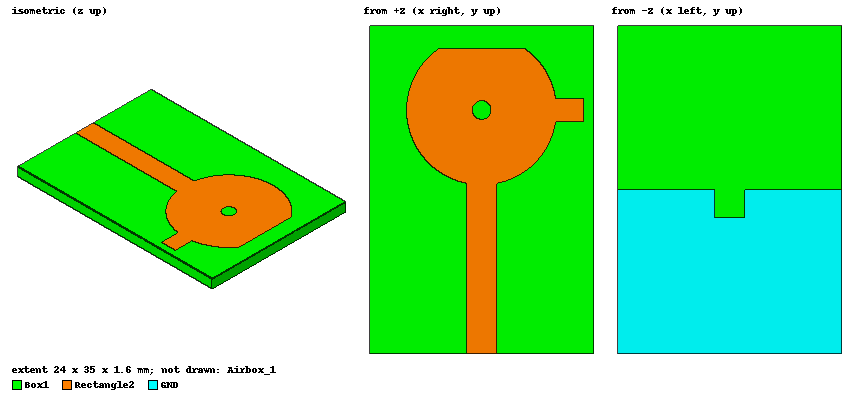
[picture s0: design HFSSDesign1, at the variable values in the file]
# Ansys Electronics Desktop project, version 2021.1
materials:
  vacuum: permittivity=1
  FR4_epoxy: permittivity=4.4 dielectric_loss_tangent=0.02

design HFSSDesign1 (HFSS, DrivenModal, model units mm)
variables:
  W = 24mm
  L = 35mm
  hs = 1.6mm
  Gd = 10.4mm
  wf = 3.2mm
  La = 17.5mm
  wgs = 3.2mm
  las = 3mm
  h = 0.5mm
  R2 = 8mm
  R1 = 1mm
  Lh = 6.5mm
  Wrec = 2.5mm
  Lrec = 3mm
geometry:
  Box1 [FR4_epoxy] = box(corner=(-W/2, 0mm, 0mm), size=(W, L, hs))
  Airbox_1 [vacuum] = box(corner=(-W/2-10mm, -10mm, -10mm), size=(W+20mm, L+20mm, 20mm))
  GND = rectangle(corner=(-Gd-wf/2, 0mm, 0mm), x_size=2*Gd+wf, y_size=La)
  Slot1 = rectangle(corner=(-wgs/2, La, 0mm), x_size=wgs, y_size=-las)
  GND.subtract(Slot1)
  Circle1 = circle(normal=Z, centre=(0mm, La+h+R2, hs), radius=R2)
  Circle2 = circle(normal=Z, centre=(0mm, La+h+R2, hs), radius=R1)
  Rectangle1 = rectangle(corner=(-5mm, La+h+R2+Lh, hs), x_size=10mm, y_size=2mm)
  Circle1.subtract(Circle2, Rectangle1)
  Rectangle2 = rectangle(corner=(-wf/2, 0mm, hs), x_size=wf, y_size=La+h+0.2mm)
  Rectangle3 = rectangle(corner=(R2-0.1mm, La+h+R2-Wrec/2, hs), x_size=Lrec, y_size=Wrec)
  Rectangle2.unite(Rectangle3, Circle1)
  Rectangle4 = rectangle(corner=(-wf/2, 0mm, 0mm), z_size=hs, x_size=wf)
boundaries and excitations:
  PerfE1: Perfect E Objects=[GND, Rectangle2]
  Rad1: Radiation Objects=Airbox_1
  1: Lumped Port Objects=Rectangle4 Modes{Mode1{IntLine{middle of Rectangle4.edge(z at corner) -> middle of Rectangle4.edge(z opposite corner)} CharImp=Zpi RenormImp=50ohm}} Impedance=50ohm
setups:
  Setup1: HfssDriven Frequency=7GHz MaxDeltaS=0.02 MaximumPasses=20 MinimumPasses=1 MinimumConvergedPasses=1 PercentRefinement=30 BasisOrder=1 PortAccuracy=2
    sweep Sweep: 3GHz to 12GHz, 100 points; Type=Discrete SaveFields
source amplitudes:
  1:1: 1W 0deg
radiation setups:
  Infinite Sphere1: Infinite Sphere Theta=-180deg..180deg step 2deg Phi=-180deg..180deg step 2deg
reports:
  S Parameter Plot 1: dB(S(1,1)) vs Freq on Setup1 : Sweep; markers m1 at 6.4545455GHz
  VSWR Plot 1: abs(VSWR(1)) vs Freq on Setup1 : Sweep; markers m1 at 6.4545455GHz
  Antenna Params Plot 1: dB(PeakGain) vs Freq on Setup1 : Sweep
  Antenna Params Plot 2: abs(RadiationEfficiency) vs Freq on Setup1 : Sweep
  Gain Plot 1: dB(GainPhi), dB(GainTheta) vs Theta on Setup1 : Sweep, Infinite Sphere1 [Phi=90deg Freq=7GHz]
  Gain Plot 2: dB(GainPhi), dB(GainTheta) vs Theta on Setup1 : Sweep, Infinite Sphere1 [Phi=0deg Freq=7GHz]
  Gain Plot 3: dB(GainTotal) vs Phi, Theta on Setup1 : LastAdaptive, Infinite Sphere1 [Freq=7GHz]
